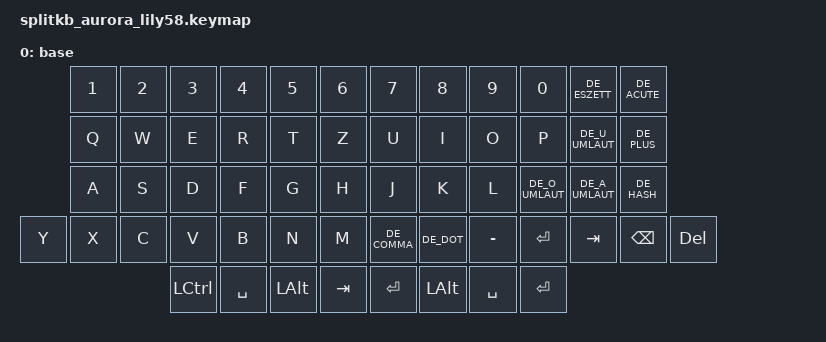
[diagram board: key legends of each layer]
/*
 * SPDX-License-Identifier: MIT
 *
 * Aurora Lily58 — QWERTZ Deutsch
 * Basis: thinkahead123/lily58-zmk-config
 */

#include <behaviors.dtsi>
#include <dt-bindings/zmk/keys.h>
#include "keys_de.h"

/ {
    keymap {
        compatible = "zmk,keymap";

        base {
            bindings = <
&kp N1 &kp N2 &kp N3 &kp N4 &kp N5 &kp N6  &kp N7 &kp N8 &kp N9 &kp N0 &kp DE_ESZETT &kp DE_ACUTE
&kp Q  &kp W  &kp E  &kp R  &kp T  &kp Z   &kp U  &kp I  &kp O  &kp P  &kp DE_U_UMLAUT &kp DE_PLUS
&kp A  &kp S  &kp D  &kp F  &kp G  &kp H   &kp J  &kp K  &kp L  &kp DE_O_UMLAUT &kp DE_A_UMLAUT &kp DE_HASH
&kp Y  &kp X  &kp C  &kp V  &kp B  &kp N  &kp M  &kp DE_COMMA &kp DE_DOT &kp MINUS &kp RETURN &kp TAB &kp BACKSPACE &kp DELETE
       &kp LCTRL &kp SPACE &kp LALT &kp TAB  &kp RETURN &kp LALT &kp SPACE &kp RETURN
            >;
        };
    };
};
